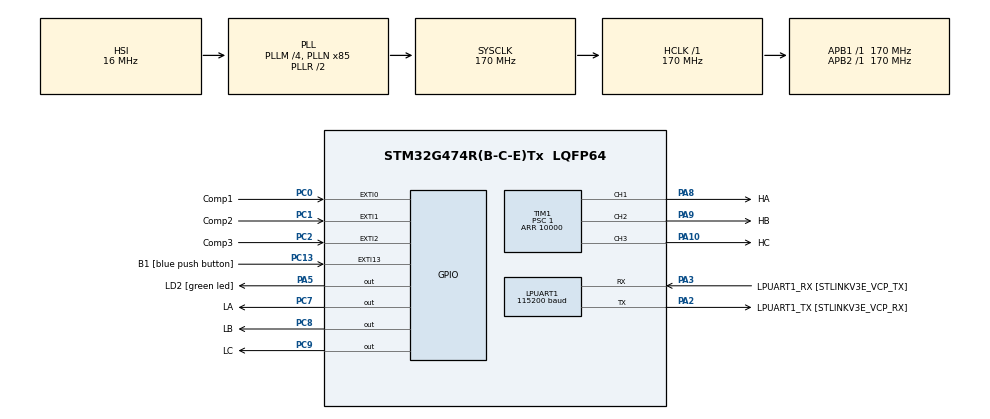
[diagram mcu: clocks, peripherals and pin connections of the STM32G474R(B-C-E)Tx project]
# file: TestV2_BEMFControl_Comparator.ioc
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LPUART1.BaudRate=115200
LPUART1.WordLength=UART_WORDLENGTH_8B
Mcu.Family=STM32G4
Mcu.Name=STM32G474R(B-C-E)Tx
Mcu.Package=LQFP64
NVIC.EXTI0_IRQn=true\:0\:0\:false\:false\:true\:true\:true\:true
NVIC.EXTI15_10_IRQn=true\:0\:0\:false\:false\:true\:true\:true\:true
NVIC.EXTI1_IRQn=true\:0\:0\:false\:false\:true\:true\:true\:true
NVIC.EXTI2_IRQn=true\:0\:0\:false\:false\:true\:true\:true\:true
NVIC.PriorityGroup=NVIC_PRIORITYGROUP_4
PA10.GPIO_Label=HC
PA10.Signal=S_TIM1_CH3
PA13.GPIO_Label=T_SWDIO
PA13.Mode=Serial_Wire
PA13.Signal=SYS_JTMS-SWDIO
PA14.GPIO_Label=T_SWCLK
PA14.Mode=Serial_Wire
PA14.Signal=SYS_JTCK-SWCLK
PA2.GPIO_Label=LPUART1_TX [STLINKV3E_VCP_RX]
PA2.Mode=Asynchronous
PA2.Signal=LPUART1_TX
PA3.GPIO_Label=LPUART1_RX [STLINKV3E_VCP_TX]
PA3.Mode=Asynchronous
PA3.Signal=LPUART1_RX
PA5.GPIO_Label=LD2 [green led]
PA5.Signal=GPIO_Output
PA8.GPIO_Label=HA
PA8.Signal=S_TIM1_CH1
PA9.GPIO_Label=HB
PA9.Signal=S_TIM1_CH2
PB3.GPIO_Label=T_SWO
PB3.Signal=SYS_JTDO-SWO
PC0.GPIO_Label=Comp1
PC0.Signal=GPXTI0
PC1.GPIO_Label=Comp2
PC1.Signal=GPXTI1
PC13.GPIO_Label=B1 [blue push button]
PC13.Signal=GPXTI13
PC14-OSC32_IN.Mode=LSE-External-Oscillator
PC14-OSC32_IN.Signal=RCC_OSC32_IN
PC15-OSC32_OUT.Mode=LSE-External-Oscillator
PC15-OSC32_OUT.Signal=RCC_OSC32_OUT
PC2.GPIO_Label=Comp3
PC2.Signal=GPXTI2
PC7.GPIO_Label=LA
PC7.GPIO_Speed=GPIO_SPEED_FREQ_HIGH
PC7.Signal=GPIO_Output
PC8.GPIO_Label=LB
PC8.GPIO_Speed=GPIO_SPEED_FREQ_HIGH
PC8.Signal=GPIO_Output
PC9.GPIO_Label=LC
PC9.GPIO_Speed=GPIO_SPEED_FREQ_HIGH
PC9.Signal=GPIO_Output
PF0-OSC_IN.Mode=HSE-External-Oscillator
PF0-OSC_IN.Signal=RCC_OSC_IN
PF1-OSC_OUT.Mode=HSE-External-Oscillator
PF1-OSC_OUT.Signal=RCC_OSC_OUT
ProjectManager.HeapSize=0x200
ProjectManager.StackSize=0x400
ProjectManager.TargetToolchain=STM32CubeIDE
RCC.ADC12Freq_Value=170000000
RCC.ADC345Freq_Value=170000000
RCC.AHBFreq_Value=170000000
RCC.APB1Freq_Value=170000000
RCC.APB1TimFreq_Value=170000000
RCC.APB2Freq_Value=170000000
RCC.APB2TimFreq_Value=170000000
RCC.CortexFreq_Value=170000000
RCC.EXTERNAL_CLOCK_VALUE=12288000
RCC.HCLKFreq_Value=170000000
RCC.HSE_VALUE=24000000
RCC.HSI48_VALUE=48000000
RCC.HSI_VALUE=16000000
RCC.PLLM=RCC_PLLM_DIV4
RCC.PLLN=85
RCC.RTCClockSelection=RCC_RTCCLKSOURCE_LSE
RCC.SYSCLKFreq_VALUE=170000000
RCC.SYSCLKSource=RCC_SYSCLKSOURCE_PLLCLK
RCC.USBFreq_Value=170000000
RCC.VCOOutputFreq_Value=340000000
SH.S_TIM1_CH1.0=TIM1_CH1,PWM Generation1 CH1
SH.S_TIM1_CH2.0=TIM1_CH2,PWM Generation2 CH2
SH.S_TIM1_CH3.0=TIM1_CH3,PWM Generation3 CH3
TIM1.Channel-PWM\ Generation1\ CH1=TIM_CHANNEL_1
TIM1.Channel-PWM\ Generation2\ CH2=TIM_CHANNEL_2
TIM1.Channel-PWM\ Generation3\ CH3=TIM_CHANNEL_3
TIM1.PeriodNoDither=10000
TIM1.Prescaler=1
VP_SYS_VS_DBSignals.Mode=DisableDeadBatterySignals
VP_TIM1_VS_ClockSourceINT.Mode=Internal
board=NUCLEO-G474RE

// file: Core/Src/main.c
/* USER CODE BEGIN Header */
/**
  ******************************************************************************
  * @file           : main.c
  * @brief          : Main program body
  ******************************************************************************
  * @attention
  *
  * Copyright (c) 2024 STMicroelectronics.
  * All rights reserved.
  *
  * This software is licensed under terms that can be found in the LICENSE file
  * in the root directory of this software component.
  * If no LICENSE file comes with this software, it is provided AS-IS.
  *
  ******************************************************************************
  */
/* USER CODE END Header */
#include "main.h"

UART_HandleTypeDef hlpuart1;

TIM_HandleTypeDef htim1;

/* USER CODE BEGIN PV */
EXTI_HandleTypeDef hexti0;
EXTI_HandleTypeDef hexti1;
EXTI_HandleTypeDef hexti2;

EXTI_ConfigTypeDef sEXTIConfigTypeDef = {0};

uint16_t PWM_max = 1500;
uint16_t PWM_min = 10;
uint16_t PWM_start = 900;

uint16_t duty = 900;

uint8_t BLDCstep = 0;

uint8_t INT = 0;
/* USER CODE END PV */

void SystemClock_Config(void);
static void MX_GPIO_Init(void);
static void MX_LPUART1_UART_Init(void);
static void MX_TIM1_Init(void);
/* USER CODE BEGIN PFP */
void BLDC_startBEMF();
void BLDC_state();

//BLDC_step
void AH_BL();
void AH_CL();
void BH_CL();
void BH_AL();
void CH_AL();
void CH_BL();

//BLDC state
void A_Rising();
void A_Falling();
void B_Rising();
void B_Falling();
void C_Rising();
void C_Falling();

//void setAINTRising();
//void setAINTFalling();
//void setBINTRising();
//void setBINTFalling();
//void setCINTRising();
//void setCINTFalling();

//set maxDuty
uint16_t PWM_setLimit(uint16_t duty);

/* USER CODE END PFP */

int main(void)
{

  /* MCU Configuration--------------------------------------------------------*/

  /* Reset of all peripherals, Initializes the Flash interface and the Systick. */
  HAL_Init();

  /* Configure the system clock */
  SystemClock_Config();

  /* Initialize all configured peripherals */
  MX_GPIO_Init();
  MX_LPUART1_UART_Init();
  MX_TIM1_Init();
  /* USER CODE BEGIN 2 */
  HAL_NVIC_DisableIRQ((EXTI0_IRQn | EXTI1_IRQn | EXTI2_IRQn));

  HAL_TIM_Base_Start(&htim1);
  HAL_TIM_PWM_Start(&htim1, TIM_CHANNEL_1);
  HAL_TIM_PWM_Start(&htim1, TIM_CHANNEL_2);
  HAL_TIM_PWM_Start(&htim1, TIM_CHANNEL_3);

  //init delay system
  HAL_Delay(2000);

  duty = PWM_start;
  BLDC_startBEMF();

  HAL_NVIC_EnableIRQ((EXTI0_IRQn | EXTI1_IRQn | EXTI2_IRQn));
  /* USER CODE END 2 */

  /* Infinite loop */
  while (1)
  {

  }
}

void SystemClock_Config(void)
{
  RCC_OscInitTypeDef RCC_OscInitStruct = {0};
  RCC_ClkInitTypeDef RCC_ClkInitStruct = {0};

  /** Configure the main internal regulator output voltage
  */
  HAL_PWREx_ControlVoltageScaling(PWR_REGULATOR_VOLTAGE_SCALE1_BOOST);

  /** Initializes the RCC Oscillators according to the specified parameters
  * in the RCC_OscInitTypeDef structure.
  */
  RCC_OscInitStruct.OscillatorType = RCC_OSCILLATORTYPE_HSI;
  RCC_OscInitStruct.HSIState = RCC_HSI_ON;
  RCC_OscInitStruct.HSICalibrationValue = RCC_HSICALIBRATION_DEFAULT;
  RCC_OscInitStruct.PLL.PLLState = RCC_PLL_ON;
  RCC_OscInitStruct.PLL.PLLSource = RCC_PLLSOURCE_HSI;
  RCC_OscInitStruct.PLL.PLLM = RCC_PLLM_DIV4;
  RCC_OscInitStruct.PLL.PLLN = 85;
  RCC_OscInitStruct.PLL.PLLP = RCC_PLLP_DIV2;
  RCC_OscInitStruct.PLL.PLLQ = RCC_PLLQ_DIV2;
  RCC_OscInitStruct.PLL.PLLR = RCC_PLLR_DIV2;
  if (HAL_RCC_OscConfig(&RCC_OscInitStruct) != HAL_OK)
  {
    Error_Handler();
  }

  /** Initializes the CPU, AHB and APB buses clocks
  */
  RCC_ClkInitStruct.ClockType = RCC_CLOCKTYPE_HCLK|RCC_CLOCKTYPE_SYSCLK
                              |RCC_CLOCKTYPE_PCLK1|RCC_CLOCKTYPE_PCLK2;
  RCC_ClkInitStruct.SYSCLKSource = RCC_SYSCLKSOURCE_PLLCLK;
  RCC_ClkInitStruct.AHBCLKDivider = RCC_SYSCLK_DIV1;
  RCC_ClkInitStruct.APB1CLKDivider = RCC_HCLK_DIV1;
  RCC_ClkInitStruct.APB2CLKDivider = RCC_HCLK_DIV1;

  if (HAL_RCC_ClockConfig(&RCC_ClkInitStruct, FLASH_LATENCY_4) != HAL_OK)
  {
    Error_Handler();
  }
}

static void MX_LPUART1_UART_Init(void)
{

  hlpuart1.Instance = LPUART1;
  hlpuart1.Init.BaudRate = 115200;
  hlpuart1.Init.WordLength = UART_WORDLENGTH_8B;
  hlpuart1.Init.StopBits = UART_STOPBITS_1;
  hlpuart1.Init.Parity = UART_PARITY_NONE;
  hlpuart1.Init.Mode = UART_MODE_TX_RX;
  hlpuart1.Init.HwFlowCtl = UART_HWCONTROL_NONE;
  hlpuart1.Init.OneBitSampling = UART_ONE_BIT_SAMPLE_DISABLE;
  hlpuart1.Init.ClockPrescaler = UART_PRESCALER_DIV1;
  hlpuart1.AdvancedInit.AdvFeatureInit = UART_ADVFEATURE_NO_INIT;
  if (HAL_UART_Init(&hlpuart1) != HAL_OK)
  {
    Error_Handler();
  }
  if (HAL_UARTEx_SetTxFifoThreshold(&hlpuart1, UART_TXFIFO_THRESHOLD_1_8) != HAL_OK)
  {
    Error_Handler();
  }
  if (HAL_UARTEx_SetRxFifoThreshold(&hlpuart1, UART_RXFIFO_THRESHOLD_1_8) != HAL_OK)
  {
    Error_Handler();
  }
  if (HAL_UARTEx_DisableFifoMode(&hlpuart1) != HAL_OK)
  {
    Error_Handler();
  }

}

static void MX_TIM1_Init(void)
{

  TIM_ClockConfigTypeDef sClockSourceConfig = {0};
  TIM_MasterConfigTypeDef sMasterConfig = {0};
  TIM_OC_InitTypeDef sConfigOC = {0};
  TIM_BreakDeadTimeConfigTypeDef sBreakDeadTimeConfig = {0};

  htim1.Instance = TIM1;
  htim1.Init.Prescaler = 1;
  htim1.Init.CounterMode = TIM_COUNTERMODE_UP;
  htim1.Init.Period = 10000;
  htim1.Init.ClockDivision = TIM_CLOCKDIVISION_DIV1;
  htim1.Init.RepetitionCounter = 0;
  htim1.Init.AutoReloadPreload = TIM_AUTORELOAD_PRELOAD_DISABLE;
  if (HAL_TIM_Base_Init(&htim1) != HAL_OK)
  {
    Error_Handler();
  }
  sClockSourceConfig.ClockSource = TIM_CLOCKSOURCE_INTERNAL;
  if (HAL_TIM_ConfigClockSource(&htim1, &sClockSourceConfig) != HAL_OK)
  {
    Error_Handler();
  }
  if (HAL_TIM_PWM_Init(&htim1) != HAL_OK)
  {
    Error_Handler();
  }
  sMasterConfig.MasterOutputTrigger = TIM_TRGO_RESET;
  sMasterConfig.MasterOutputTrigger2 = TIM_TRGO2_RESET;
  sMasterConfig.MasterSlaveMode = TIM_MASTERSLAVEMODE_DISABLE;
  if (HAL_TIMEx_MasterConfigSynchronization(&htim1, &sMasterConfig) != HAL_OK)
  {
    Error_Handler();
  }
  sConfigOC.OCMode = TIM_OCMODE_PWM1;
  sConfigOC.Pulse = 0;
  sConfigOC.OCPolarity = TIM_OCPOLARITY_HIGH;
  sConfigOC.OCNPolarity = TIM_OCNPOLARITY_HIGH;
  sConfigOC.OCFastMode = TIM_OCFAST_DISABLE;
  sConfigOC.OCIdleState = TIM_OCIDLESTATE_RESET;
  sConfigOC.OCNIdleState = TIM_OCNIDLESTATE_RESET;
  if (HAL_TIM_PWM_ConfigChannel(&htim1, &sConfigOC, TIM_CHANNEL_1) != HAL_OK)
  {
    Error_Handler();
  }
  if (HAL_TIM_PWM_ConfigChannel(&htim1, &sConfigOC, TIM_CHANNEL_2) != HAL_OK)
  {
    Error_Handler();
  }
  if (HAL_TIM_PWM_ConfigChannel(&htim1, &sConfigOC, TIM_CHANNEL_3) != HAL_OK)
  {
    Error_Handler();
  }
  sBreakDeadTimeConfig.OffStateRunMode = TIM_OSSR_DISABLE;
  sBreakDeadTimeConfig.OffStateIDLEMode = TIM_OSSI_DISABLE;
  sBreakDeadTimeConfig.LockLevel = TIM_LOCKLEVEL_OFF;
  sBreakDeadTimeConfig.DeadTime = 0;
  sBreakDeadTimeConfig.BreakState = TIM_BREAK_DISABLE;
  sBreakDeadTimeConfig.BreakPolarity = TIM_BREAKPOLARITY_HIGH;
  sBreakDeadTimeConfig.BreakFilter = 0;
  sBreakDeadTimeConfig.BreakAFMode = TIM_BREAK_AFMODE_INPUT;
  sBreakDeadTimeConfig.Break2State = TIM_BREAK2_DISABLE;
  sBreakDeadTimeConfig.Break2Polarity = TIM_BREAK2POLARITY_HIGH;
  sBreakDeadTimeConfig.Break2Filter = 0;
  sBreakDeadTimeConfig.Break2AFMode = TIM_BREAK_AFMODE_INPUT;
  sBreakDeadTimeConfig.AutomaticOutput = TIM_AUTOMATICOUTPUT_DISABLE;
  if (HAL_TIMEx_ConfigBreakDeadTime(&htim1, &sBreakDeadTimeConfig) != HAL_OK)
  {
    Error_Handler();
  }
  HAL_TIM_MspPostInit(&htim1);

}

static void MX_GPIO_Init(void)
{
  GPIO_InitTypeDef GPIO_InitStruct = {0};

  /* GPIO Ports Clock Enable */
  __HAL_RCC_GPIOC_CLK_ENABLE();
  __HAL_RCC_GPIOF_CLK_ENABLE();
  __HAL_RCC_GPIOA_CLK_ENABLE();
  __HAL_RCC_GPIOB_CLK_ENABLE();

  /*Configure GPIO pin Output Level */
  HAL_GPIO_WritePin(LD2_GPIO_Port, LD2_Pin, GPIO_PIN_RESET);

  /*Configure GPIO pin Output Level */
  HAL_GPIO_WritePin(GPIOC, LA_Pin|LB_Pin|LC_Pin, GPIO_PIN_RESET);

  /*Configure GPIO pins : B1_Pin Comp1_Pin Comp2_Pin Comp3_Pin */
  GPIO_InitStruct.Pin = B1_Pin|Comp1_Pin|Comp2_Pin|Comp3_Pin;
  GPIO_InitStruct.Mode = GPIO_MODE_IT_RISING;
  GPIO_InitStruct.Pull = GPIO_NOPULL;
  HAL_GPIO_Init(GPIOC, &GPIO_InitStruct);

  /*Configure GPIO pin : LD2_Pin */
  GPIO_InitStruct.Pin = LD2_Pin;
  GPIO_InitStruct.Mode = GPIO_MODE_OUTPUT_PP;
  GPIO_InitStruct.Pull = GPIO_NOPULL;
  GPIO_InitStruct.Speed = GPIO_SPEED_FREQ_LOW;
  HAL_GPIO_Init(LD2_GPIO_Port, &GPIO_InitStruct);

  /*Configure GPIO pins : LA_Pin LB_Pin LC_Pin */
  GPIO_InitStruct.Pin = LA_Pin|LB_Pin|LC_Pin;
  GPIO_InitStruct.Mode = GPIO_MODE_OUTPUT_PP;
  GPIO_InitStruct.Pull = GPIO_NOPULL;
  GPIO_InitStruct.Speed = GPIO_SPEED_FREQ_HIGH;
  HAL_GPIO_Init(GPIOC, &GPIO_InitStruct);

  /* EXTI interrupt init*/
  HAL_NVIC_SetPriority(EXTI0_IRQn, 0, 0);
  HAL_NVIC_EnableIRQ(EXTI0_IRQn);

  HAL_NVIC_SetPriority(EXTI1_IRQn, 0, 0);
  HAL_NVIC_EnableIRQ(EXTI1_IRQn);

  HAL_NVIC_SetPriority(EXTI2_IRQn, 0, 0);
  HAL_NVIC_EnableIRQ(EXTI2_IRQn);

  HAL_NVIC_SetPriority(EXTI15_10_IRQn, 0, 0);
  HAL_NVIC_EnableIRQ(EXTI15_10_IRQn);

}

/* USER CODE BEGIN 4 */

void BLDC_state(){
	switch(BLDCstep){
	case 0:
		AH_BL();
		C_Rising();
		break;
	case 1:
		AH_CL();
		B_Falling();
		break;
	case 2:
		BH_CL();
		A_Rising();
		break;
	case 3:
		BH_AL();
		C_Falling();
		break;
	case 4:
		CH_AL();
		B_Rising();
		break;
	case 5:
		CH_BL();
		A_Falling();
		break;
	}
}

void AH_BL(){
	__HAL_TIM_SET_COMPARE(&htim1, TIM_CHANNEL_1, 0);
	__HAL_TIM_SET_COMPARE(&htim1, TIM_CHANNEL_2, 0);
	__HAL_TIM_SET_COMPARE(&htim1, TIM_CHANNEL_3, 0);

	//AL BH(PWM) CH(PWM) CL OFF
	HAL_GPIO_WritePin(GPIOC, GPIO_PIN_7, RESET);
	__HAL_TIM_SET_COMPARE(&htim1, TIM_CHANNEL_2, 0);
	__HAL_TIM_SET_COMPARE(&htim1, TIM_CHANNEL_3, 0);
	HAL_GPIO_WritePin(GPIOC, GPIO_PIN_9, RESET);

	//AH(PWM) BL ON
	__HAL_TIM_SET_COMPARE(&htim1, TIM_CHANNEL_1, PWM_setLimit(duty));
	HAL_GPIO_WritePin(GPIOC, GPIO_PIN_8, SET);
}
void AH_CL(){
	__HAL_TIM_SET_COMPARE(&htim1, TIM_CHANNEL_1, 0);
	__HAL_TIM_SET_COMPARE(&htim1, TIM_CHANNEL_2, 0);
	__HAL_TIM_SET_COMPARE(&htim1, TIM_CHANNEL_3, 0);

	//AL BH(PWM) BL CH(PWM) OFF
	HAL_GPIO_WritePin(GPIOC, GPIO_PIN_7, RESET);
	__HAL_TIM_SET_COMPARE(&htim1, TIM_CHANNEL_2, 0);
	HAL_GPIO_WritePin(GPIOC, GPIO_PIN_8, RESET);
	__HAL_TIM_SET_COMPARE(&htim1, TIM_CHANNEL_3, 0);

	//AH(PWM) CL ON
	__HAL_TIM_SET_COMPARE(&htim1, TIM_CHANNEL_1, PWM_setLimit(duty));
	HAL_GPIO_WritePin(GPIOC, GPIO_PIN_9, SET);
}
void BH_CL(){
	__HAL_TIM_SET_COMPARE(&htim1, TIM_CHANNEL_1, 0);
	__HAL_TIM_SET_COMPARE(&htim1, TIM_CHANNEL_2, 0);
	__HAL_TIM_SET_COMPARE(&htim1, TIM_CHANNEL_3, 0);

	//AH(PWM) AL BL CH(PWM) OFF
	__HAL_TIM_SET_COMPARE(&htim1, TIM_CHANNEL_1, 0);
	HAL_GPIO_WritePin(GPIOC, GPIO_PIN_7, RESET);
	HAL_GPIO_WritePin(GPIOC, GPIO_PIN_8, RESET);
	__HAL_TIM_SET_COMPARE(&htim1, TIM_CHANNEL_3, 0);

	//BH(PWM) CL ON
	__HAL_TIM_SET_COMPARE(&htim1, TIM_CHANNEL_2, PWM_setLimit(duty));
	HAL_GPIO_WritePin(GPIOC, GPIO_PIN_9, SET);
}
void BH_AL(){
	__HAL_TIM_SET_COMPARE(&htim1, TIM_CHANNEL_1, 0);
	__HAL_TIM_SET_COMPARE(&htim1, TIM_CHANNEL_2, 0);
	__HAL_TIM_SET_COMPARE(&htim1, TIM_CHANNEL_3, 0);

	//AH(PWM) BL CH(PWM) CL OFF
	__HAL_TIM_SET_COMPARE(&htim1, TIM_CHANNEL_1, 0);
	HAL_GPIO_WritePin(GPIOC, GPIO_PIN_8, RESET);
	__HAL_TIM_SET_COMPARE(&htim1, TIM_CHANNEL_3, 0);
	HAL_GPIO_WritePin(GPIOC, GPIO_PIN_9, RESET);

	//BH(PWM) AL ON
	__HAL_TIM_SET_COMPARE(&htim1, TIM_CHANNEL_2, PWM_setLimit(duty));
	HAL_GPIO_WritePin(GPIOC, GPIO_PIN_7, SET);
}
void CH_AL(){
	__HAL_TIM_SET_COMPARE(&htim1, TIM_CHANNEL_1, 0);
	__HAL_TIM_SET_COMPARE(&htim1, TIM_CHANNEL_2, 0);
	__HAL_TIM_SET_COMPARE(&htim1, TIM_CHANNEL_3, 0);

	//AH(PWM) BH(PWM) BL CL OFF
	__HAL_TIM_SET_COMPARE(&htim1, TIM_CHANNEL_1, 0);
	__HAL_TIM_SET_COMPARE(&htim1, TIM_CHANNEL_2, 0);
	HAL_GPIO_WritePin(GPIOC, GPIO_PIN_8, RESET);
	HAL_GPIO_WritePin(GPIOC, GPIO_PIN_9, RESET);

	//CH(PWM) AL ON
	__HAL_TIM_SET_COMPARE(&htim1, TIM_CHANNEL_3, PWM_setLimit(duty));
	HAL_GPIO_WritePin(GPIOC, GPIO_PIN_7, SET);
}
void CH_BL(){
	__HAL_TIM_SET_COMPARE(&htim1, TIM_CHANNEL_1, 0);
	__HAL_TIM_SET_COMPARE(&htim1, TIM_CHANNEL_2, 0);
	__HAL_TIM_SET_COMPARE(&htim1, TIM_CHANNEL_3, 0);

	//AH(PWM) AL BH(PWM) CL OFF
	__HAL_TIM_SET_COMPARE(&htim1, TIM_CHANNEL_1, 0);
	HAL_GPIO_WritePin(GPIOC, GPIO_PIN_7, RESET);
	__HAL_TIM_SET_COMPARE(&htim1, TIM_CHANNEL_2, 0);
	HAL_GPIO_WritePin(GPIOC, GPIO_PIN_9, RESET);

	//CH(PWM) BL ON
	__HAL_TIM_SET_COMPARE(&htim1, TIM_CHANNEL_3, PWM_setLimit(duty));
	HAL_GPIO_WritePin(GPIOC, GPIO_PIN_8, SET);
}

void A_Rising(){
	HAL_NVIC_DisableIRQ(EXTI0_IRQn | EXTI1_IRQn | EXTI2_IRQn);
	HAL_NVIC_EnableIRQ(EXTI0_IRQn);

	sEXTIConfigTypeDef.Trigger = EXTI_TRIGGER_RISING;
	HAL_EXTI_SetConfigLine(&hexti0, &sEXTIConfigTypeDef);

	INT = 1;
}

void A_Falling(){
	HAL_NVIC_DisableIRQ(EXTI0_IRQn | EXTI1_IRQn | EXTI2_IRQn);
	HAL_NVIC_EnableIRQ(EXTI0_IRQn);

	sEXTIConfigTypeDef.Trigger = EXTI_TRIGGER_FALLING;
	HAL_EXTI_SetConfigLine(&hexti0, &sEXTIConfigTypeDef);

	INT = 1;
}

void B_Rising(){
	HAL_NVIC_DisableIRQ(EXTI0_IRQn | EXTI1_IRQn | EXTI2_IRQn);
	HAL_NVIC_EnableIRQ(EXTI1_IRQn);

	sEXTIConfigTypeDef.Trigger = EXTI_TRIGGER_RISING;
	HAL_EXTI_SetConfigLine(&hexti0, &sEXTIConfigTypeDef);

	INT = 2;
}

void B_Falling(){
	HAL_NVIC_DisableIRQ(EXTI0_IRQn | EXTI1_IRQn | EXTI2_IRQn);
	HAL_NVIC_EnableIRQ(EXTI1_IRQn);

	sEXTIConfigTypeDef.Trigger = EXTI_TRIGGER_FALLING;
	HAL_EXTI_SetConfigLine(&hexti0, &sEXTIConfigTypeDef);

	INT = 2;
}

void C_Rising(){
	HAL_NVIC_DisableIRQ(EXTI0_IRQn | EXTI1_IRQn | EXTI2_IRQn);
	HAL_NVIC_EnableIRQ(EXTI2_IRQn);

	sEXTIConfigTypeDef.Trigger = EXTI_TRIGGER_RISING;
	HAL_EXTI_SetConfigLine(&hexti0, &sEXTIConfigTypeDef);

	INT = 3;
}

void C_Falling(){
	HAL_NVIC_DisableIRQ(EXTI0_IRQn | EXTI1_IRQn | EXTI2_IRQn);
	HAL_NVIC_EnableIRQ(EXTI2_IRQn);

	sEXTIConfigTypeDef.Trigger = EXTI_TRIGGER_FALLING;
	HAL_EXTI_SetConfigLine(&hexti0, &sEXTIConfigTypeDef);

	INT = 3;
}

//
//void setAINTRising(){
//	HAL_NVIC_DisableIRQ(EXTI0_IRQn | EXTI1_IRQn | EXTI2_IRQn);
//	HAL_NVIC_EnableIRQ(EXTI0_IRQn);
//
//	sEXTIConfigTypeDef.Trigger = EXTI_TRIGGER_RISING;
//	HAL_EXTI_SetConfigLine(&hexti0, &sEXTIConfigTypeDef);
//}
//
//void setAINTFalling(){
//	HAL_NVIC_DisableIRQ(EXTI0_IRQn | EXTI1_IRQn | EXTI2_IRQn);
//	HAL_NVIC_EnableIRQ(EXTI0_IRQn);
//
//	sEXTIConfigTypeDef.Trigger = EXTI_TRIGGER_FALLING;
//	HAL_EXTI_SetConfigLine(&hexti0, &sEXTIConfigTypeDef);
//}
//
//void setBINTRising(){
//	HAL_NVIC_DisableIRQ(EXTI0_IRQn | EXTI1_IRQn | EXTI2_IRQn);
//	HAL_NVIC_EnableIRQ(EXTI1_IRQn);
//
//	sEXTIConfigTypeDef.Trigger = EXTI_TRIGGER_RISING;
//	HAL_EXTI_SetConfigLine(&hexti0, &sEXTIConfigTypeDef);
//}
//
//void setBINTFalling(){
//	HAL_NVIC_DisableIRQ(EXTI0_IRQn | EXTI1_IRQn | EXTI2_IRQn);
//	HAL_NVIC_EnableIRQ(EXTI1_IRQn);
//
//	sEXTIConfigTypeDef.Trigger = EXTI_TRIGGER_FALLING;
//	HAL_EXTI_SetConfigLine(&hexti0, &sEXTIConfigTypeDef);
//}
//
//void setCINTRising(){
//	HAL_NVIC_DisableIRQ(EXTI0_IRQn | EXTI1_IRQn | EXTI2_IRQn);
//	HAL_NVIC_EnableIRQ(EXTI2_IRQn);
//
//	sEXTIConfigTypeDef.Trigger = EXTI_TRIGGER_RISING;
//	HAL_EXTI_SetConfigLine(&hexti0, &sEXTIConfigTypeDef);
//}
//
//void setCINTFalling(){
//	HAL_NVIC_DisableIRQ(EXTI0_IRQn | EXTI1_IRQn | EXTI2_IRQn);
//	HAL_NVIC_EnableIRQ(EXTI2_IRQn);
//
//	sEXTIConfigTypeDef.Trigger = EXTI_TRIGGER_FALLING;
//	HAL_EXTI_SetConfigLine(&hexti0, &sEXTIConfigTypeDef);
//}

uint16_t PWM_setLimit(uint16_t duty){
	if(duty < PWM_min) return duty = PWM_min;
	else if(duty > PWM_max) return duty = PWM_max;
	else return duty;
}

void BLDC_startBEMF(){
	static uint32_t i = 20000;
	while(i > 100){
		HAL_Delay((i/10000));
		BLDC_state();
		BLDCstep++;
		BLDCstep %= 6;
		i = i - 200;
	}
}

void HAL_GPIO_EXTI_Callback(uint16_t GPIO_Pin){
	if(INT == 1){
		for (uint8_t i = 0; i < 150 ; i++){
			if(BLDCstep & 1){
				if(!(HAL_GPIO_ReadPin(GPIOC, GPIO_PIN_0))){
					i -= 1;
				}
			}
			else{
				if(HAL_GPIO_ReadPin(GPIOC, GPIO_PIN_0)){
					i -= 1;
				}
			}
		}
	}

	else if(INT == 2){
		for (uint8_t i = 0; i < 150 ; i++){
			if(BLDCstep & 1){
				if(!(HAL_GPIO_ReadPin(GPIOC, GPIO_PIN_1))){
					i -= 1;
				}
			}
			else{
				if(HAL_GPIO_ReadPin(GPIOC, GPIO_PIN_1)){
					i -= 1;
				}
			}
		}
	}

	else if(INT == 3){
		for (uint8_t i = 0; i < 150 ; i++){
			if(BLDCstep & 1){
				if(!(HAL_GPIO_ReadPin(GPIOC, GPIO_PIN_2))){
					i -= 1;
				}
			}
			else{
				if(HAL_GPIO_ReadPin(GPIOC, GPIO_PIN_2)){
					i -= 1;
				}
			}
		}
	}

	BLDC_state();
	BLDCstep++;
	BLDCstep %= 6;
}
/* USER CODE END 4 */

void Error_Handler(void)
{
  __disable_irq();
  while (1)
  {
  }
}
